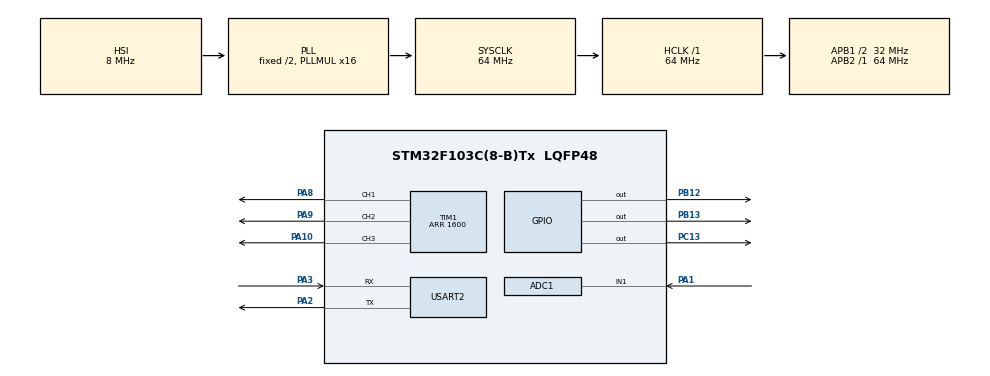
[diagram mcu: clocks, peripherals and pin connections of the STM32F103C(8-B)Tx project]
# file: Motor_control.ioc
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ADC1.Channel-2\#ChannelRegularConversion=ADC_CHANNEL_1
ADC1.ContinuousConvMode=DISABLE
ADC1.NbrOfConversion=1
ADC1.NbrOfConversionFlag=1
ADC1.Rank-2\#ChannelRegularConversion=1
ADC1.SamplingTime-2\#ChannelRegularConversion=ADC_SAMPLETIME_1CYCLE_5
ADC1.master=1
Mcu.Family=STM32F1
Mcu.Name=STM32F103C(8-B)Tx
Mcu.Package=LQFP48
NVIC.PriorityGroup=NVIC_PRIORITYGROUP_4
NVIC.TIM1_UP_IRQn=true\:0\:0\:false\:false\:true\:true\:true
NVIC.TIM2_IRQn=true\:0\:0\:false\:false\:true\:true\:true
PA1.Signal=ADCx_IN1
PA10.Signal=S_TIM1_CH3
PA2.Mode=Asynchronous
PA2.Signal=USART2_TX
PA3.Mode=Asynchronous
PA3.Signal=USART2_RX
PA8.Signal=S_TIM1_CH1
PA9.Signal=S_TIM1_CH2
PB12.Signal=GPIO_Output
PB13.Signal=GPIO_Output
PC13-TAMPER-RTC.Signal=GPIO_Output
ProjectManager.HeapSize=0x200
ProjectManager.StackSize=0x400
ProjectManager.TargetToolchain=STM32CubeIDE
RCC.ADCPresc=RCC_ADCPCLK2_DIV6
RCC.AHBFreq_Value=64000000
RCC.APB1CLKDivider=RCC_HCLK_DIV2
RCC.APB1Freq_Value=32000000
RCC.APB1TimFreq_Value=64000000
RCC.APB2Freq_Value=64000000
RCC.APB2TimFreq_Value=64000000
RCC.HCLKFreq_Value=64000000
RCC.PLLMUL=RCC_PLL_MUL16
RCC.SYSCLKFreq_VALUE=64000000
RCC.SYSCLKSource=RCC_SYSCLKSOURCE_PLLCLK
RCC.USBFreq_Value=64000000
SH.ADCx_IN1.0=ADC1_IN1,IN1
SH.S_TIM1_CH1.0=TIM1_CH1,PWM Generation1 CH1
SH.S_TIM1_CH2.0=TIM1_CH2,PWM Generation2 CH2
SH.S_TIM1_CH3.0=TIM1_CH3,PWM Generation3 CH3
TIM1.AutoReloadPreload=TIM_AUTORELOAD_PRELOAD_ENABLE
TIM1.BreakState=TIM_BREAK_DISABLE
TIM1.Channel-PWM\ Generation1\ CH1=TIM_CHANNEL_1
TIM1.Channel-PWM\ Generation2\ CH2=TIM_CHANNEL_2
TIM1.Channel-PWM\ Generation3\ CH3=TIM_CHANNEL_3
TIM1.CounterMode=TIM_COUNTERMODE_UP
TIM1.OffStateIDLEMode=TIM_OSSI_ENABLE
TIM1.OffStateRunMode=TIM_OSSR_ENABLE
TIM1.Period=1600
TIM1.Pulse-PWM\ Generation2\ CH2=500
TIM1.Pulse-PWM\ Generation3\ CH3=1300
TIM2.Channel-Output\ Compare1\ No\ Output=TIM_CHANNEL_1
TIM2.Period=32
USART2.VirtualMode=VM_ASYNC
VP_SYS_VS_ND.Mode=No_Debug
VP_TIM1_VS_ClockSourceINT.Mode=Internal
VP_TIM2_VS_ClockSourceINT.Mode=Internal
VP_TIM2_VS_no_output1.Mode=Output Compare1 No Output
board=custom

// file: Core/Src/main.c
/* USER CODE BEGIN Header */
/**
  ******************************************************************************
  * @file           : main.c
  * @brief          : Main program body
  ******************************************************************************
  * @attention
  *
  * <h2><center>&copy; Copyright (c) 2020 STMicroelectronics.
  * All rights reserved.</center></h2>
  *
  * This software component is licensed by ST under BSD 3-Clause license,
  * the "License"; You may not use this file except in compliance with the
  * License. You may obtain a copy of the License at:
  *                        opensource.org/licenses/BSD-3-Clause
  *
  ******************************************************************************
  */
/* USER CODE END Header */
#include "main.h"

/* USER CODE BEGIN Includes */
#include "math.h"
/* USER CODE END Includes */

/* USER CODE BEGIN PD */
// utility defines
#define _2_SQRT3 1.15470053838
#define _SQRT3 1.73205080757
#define _1_SQRT3 0.57735026919
#define _SQRT3_2 0.86602540378
#define _SQRT2 1.41421356237
#define _120_D2R 2.09439510239
#define _PI 3.14159265359
#define _PI_2 1.57079632679
#define _PI_3 1.0471975512
#define _2PI 6.28318530718
#define _3PI_2 4.71238898038

// sign function
#define _sign(a) ( ( (a) < 0 )  ?  -1   : ( (a) > 0 ) )
#define _round(x) ((x)>=0?(long)((x)+0.5):(long)((x)-0.5))

/* USER CODE END PD */

ADC_HandleTypeDef hadc1;

TIM_HandleTypeDef htim1;
TIM_HandleTypeDef htim2;

UART_HandleTypeDef huart2;

/* USER CODE BEGIN PV */
int gpio_b12 = 0;
int gpio_b13 = 0;
/* USER CODE END PV */

void SystemClock_Config(void);
static void MX_GPIO_Init(void);
static void MX_TIM1_Init(void);
static void MX_USART2_UART_Init(void);
static void MX_ADC1_Init(void);
static void MX_TIM2_Init(void);

/* USER CODE BEGIN 0 */
//#define SIN_STEPS 1024
#define SIN_STEPS 1024
char buf[200];
uint16_t sin_array[SIN_STEPS];
#define SIN_SCALE 780 //400-700should be fine

uint16_t duty_u=0;
uint16_t duty_v=0;
uint16_t duty_w=0;

/* USER CODE END 0 */

int main(void)
{

  /* MCU Configuration--------------------------------------------------------*/

  /* Reset of all peripherals, Initializes the Flash interface and the Systick. */
  HAL_Init();

  /* Configure the system clock */
  SystemClock_Config();

  /* Initialize all configured peripherals */
  MX_GPIO_Init();
  MX_TIM1_Init();
  MX_USART2_UART_Init();
  MX_ADC1_Init();
  MX_TIM2_Init();
  /* USER CODE BEGIN 2 */
  HAL_TIM_Base_Start_IT(&htim1);
  //HAL_Delay(1);
  //HAL_TIM_Base_Start_IT(&htim2);

  HAL_TIM_PWM_Start_IT(&htim1,TIM_CHANNEL_1);

  HAL_TIM_PWM_Start_IT(&htim1,TIM_CHANNEL_2);

  HAL_TIM_PWM_Start_IT(&htim1,TIM_CHANNEL_3);

  /* Init ADC1 */
  //MX_ADC1_Init();

  for(int i=0;i<SIN_STEPS;i++)
  {
	  float value =  (i*M_TWOPI/SIN_STEPS);
      sin_array[i]= (uint16_t)round((sinf(value)+1)*SIN_SCALE)+5;
//      sprintf(buf,"Sin %d\t\n",sin_array[i]);
//      HAL_UART_Transmit(&huart2,buf,strlen(buf),10);
  }

  // int array instead of float array
  // 2x storage save (int 2Byte float 4 Byte )
  // sin*10000
  int sine_array[200] = {0,79,158,237,316,395,473,552,631,710,789,867,946,1024,1103,1181,1260,1338,1416,1494,1572,1650,1728,1806,1883,1961,2038,2115,2192,2269,2346,2423,2499,2575,2652,2728,2804,2879,2955,3030,3105,3180,3255,3329,3404,3478,3552,3625,3699,3772,3845,3918,3990,4063,4135,4206,4278,4349,4420,4491,4561,4631,4701,4770,4840,4909,4977,5046,5113,5181,5249,5316,5382,5449,5515,5580,5646,5711,5775,5839,5903,5967,6030,6093,6155,6217,6279,6340,6401,6461,6521,6581,6640,6699,6758,6815,6873,6930,6987,7043,7099,7154,7209,7264,7318,7371,7424,7477,7529,7581,7632,7683,7733,7783,7832,7881,7930,7977,8025,8072,8118,8164,8209,8254,8298,8342,8385,8428,8470,8512,8553,8594,8634,8673,8712,8751,8789,8826,8863,8899,8935,8970,9005,9039,9072,9105,9138,9169,9201,9231,9261,9291,9320,9348,9376,9403,9429,9455,9481,9506,9530,9554,9577,9599,9621,9642,9663,9683,9702,9721,9739,9757,9774,9790,9806,9821,9836,9850,9863,9876,9888,9899,9910,9920,9930,9939,9947,9955,9962,9969,9975,9980,9985,9989,9992,9995,9997,9999,10000,10000};

  // function approximating the sine calculation by using fixed size array
  // ~40us (float array)
  // ~50us (int array)
  // precision +-0.005
  // it has to receive an angle in between 0 and 2PI
  float _sin(float a){
    if(a < _PI_2){
      //return sine_array[(int)(199.0*( a / (_PI/2.0)))];
      //return sine_array[(int)(126.6873* a)];           // float array optimized
      return 0.0001*sine_array[_round(126.6873* a)];      // int array optimized
    }else if(a < _PI){
      // return sine_array[(int)(199.0*(1.0 - (a-_PI/2.0) / (_PI/2.0)))];
      //return sine_array[398 - (int)(126.6873*a)];          // float array optimized
      return 0.0001*sine_array[398 - _round(126.6873*a)];     // int array optimized
    }else if(a < _3PI_2){
      // return -sine_array[(int)(199.0*((a - _PI) / (_PI/2.0)))];
      //return -sine_array[-398 + (int)(126.6873*a)];           // float array optimized
      return -0.0001*sine_array[-398 + _round(126.6873*a)];      // int array optimized
    } else {
      // return -sine_array[(int)(199.0*(1.0 - (a - 3*_PI/2) / (_PI/2.0)))];
      //return -sine_array[796 - (int)(126.6873*a)];           // float array optimized
      return -0.0001*sine_array[796 - _round(126.6873*a)];      // int array optimized
    }
  }

  /* USER CODE END 2 */

  /* Infinite loop */
  /* USER CODE BEGIN WHILE */
  int count = 0;
  int angle_el = 0;
  float angle_r= 0;
  int steps = 0;
  int direction = 1;

  while (1)
  {
	     // we have 6 sectors for svpwm

	     angle_r = (((angle_el%SIN_STEPS)*M_TWOPI/SIN_STEPS));
	     int sector = floor(angle_r / _PI_3) + 1;

	     float T1 = _SQRT3*_sin(sector*_PI_3 - angle_r);
	     float T2 = _SQRT3*_sin(angle_r - (sector-1.0)*_PI_3);
	      // two versions possible
	      // centered around voltage_power_supply/2
	     float T0 = 1 - T1 - T2;

	     float duty_u_f,duty_v_f,duty_w_f;

	      switch(sector){
	        case 1:
	          duty_u_f = T1 + T2 + T0/2;
	          duty_v_f = T2 + T0/2;
	          duty_w_f = T0/2;
	          break;
	        case 2:
	          duty_u_f = T1 +  T0/2;
	          duty_v_f = T1 + T2 + T0/2;
	          duty_w_f = T0/2;
	          break;
	        case 3:
	          duty_u_f = T0/2;
	          duty_v_f = T1 + T2 + T0/2;
	          duty_w_f = T2 + T0/2;
	          break;
	        case 4:
	          duty_u_f = T0/2;
	          duty_v_f = T1+ T0/2;
	          duty_w_f = T1 + T2 + T0/2;
	          break;
	        case 5:
	          duty_u_f = T2 + T0/2;
	          duty_v_f = T0/2;
	          duty_w_f = T1 + T2 + T0/2;
	          break;
	        case 6:
	          duty_u_f = T1 + T2 + T0/2;
	          duty_v_f = T0/2;
	          duty_w_f = T1 + T0/2;
	          break;
	        default:
	         // possible error state
	          duty_u_f = 0;
	          duty_v_f = 0;
	          duty_w_f = 0;
	      }
	      duty_u = (duty_u_f+0.4)*900;
	      duty_v = (duty_v_f+0.4)*900;
	      duty_w = (duty_w_f+0.4)*900;

//	     sprintf(buf,"U:%d U:%d U:%d U:%d U:%f\t\n",sector, duty_u,duty_v,duty_w,angle_r);
//	     HAL_UART_Transmit(&huart2,buf,strlen(buf),10);
	   	gpio_b12 = !gpio_b12;
	   	HAL_GPIO_WritePin(GPIOB, GPIO_PIN_12, gpio_b12);

	    angle_el=angle_el+8;

//	     if(angle_el>=1024)
//	     {
//	    	 angle_el=2048;
//	     }

//		 if(steps%2)
//		 {
//			 count=0;
//		 }
//		 else
//		 {
//			 count=500;
//		 }

	    // HAL_Delay(1);

//	     count=count+1;
//
//	     sin(count);
//	     sin(count);
//	     sin(count);
//	     sin(count);
//	     sin(count);

//	     if(count%5==0)
//	     {
//		     HAL_ADC_Start(&hadc1);
//		     HAL_ADC_PollForConversion(&hadc1, HAL_MAX_DELAY);
//
//		     uint32_t raw = HAL_ADC_GetValue(&hadc1);
//
//
//		      sprintf(buf,"ADC %d\t\n",raw);
//		      HAL_UART_Transmit(&huart2,buf,strlen(buf),10);
//	     }
//
//		 if((count%(SIN_STEPS-1))==0)
//		 {
//			 //count=0;
//			 //steps++;
//			 //continue;
//		 }
//
//		 if(count>=(SIN_STEPS-1)*2)
//		 {
//			 //steps = 100;
//			 //direction = !direction;
//			 direction = !direction;
//			 count = ((SIN_STEPS-1)*2-1);
//			 HAL_Delay(200);
//		 }
//		 else
//		 {
//			 if(direction)
//			 {
//				 count = count+1;
//			 }
//			 else
//			 {
//				 count = count-1;
//				 if(count<=0)
//				 {
//					 direction = !direction;
//					 count=0;
//					 HAL_Delay(200);
//				 }
//			 }
//
//		 }
//

//		 if(out>=3000)
//		 {
//			 out=0;
//		 }
//
//		 if(out%2)
//		 {
//			 count = 0;
//		 }
//		 else
//		 {
//			 count = 400;
//		 }
//		 out++;

//		 duty_u=sin_array[(count%SIN_STEPS)];
//		 duty_v=sin_array[(count+SIN_STEPS/3)%SIN_STEPS];
//		 duty_w=sin_array[(count+2*SIN_STEPS/3)%SIN_STEPS];
		 {
//			 if(count%2)
//			 {
//				 TIM1->CCR1=0;
//			 }
//			 else
//			 {
//
//				 TIM1->CCR1=25;
//			 }
//			 TIM1->CCR1=duty_u;
//			 TIM1->CCR2=duty_v;
//			 TIM1->CCR3=duty_w;
//
//			 count=count+8;
			 //HAL_Delay(5);
//			 steps++;
//			 if((steps>=1000)&& (steps<1500))
//			 {
//				 count=count+4;
//				 steps++;
//				 HAL_Delay(3);
//
//			 }
//			 else if((steps>=1500)&&(steps<2600))
//			 {
//				 count=count+4;
//				 steps++;
//				 HAL_Delay(2);
//
//			 }
//			 else if(steps>=2600)
//		     {
//				 count=count+8;
//			     steps=2900;
//				 HAL_Delay(2);
//
//			}
//			 else
//			 {
//				 count=count+4;
//				 HAL_Delay(4);
//			 }

		 }

    /* USER CODE END WHILE */

  }
}

void SystemClock_Config(void)
{
  RCC_OscInitTypeDef RCC_OscInitStruct = {0};
  RCC_ClkInitTypeDef RCC_ClkInitStruct = {0};
  RCC_PeriphCLKInitTypeDef PeriphClkInit = {0};

  /** Initializes the RCC Oscillators according to the specified parameters
  * in the RCC_OscInitTypeDef structure.
  */
  RCC_OscInitStruct.OscillatorType = RCC_OSCILLATORTYPE_HSI;
  RCC_OscInitStruct.HSIState = RCC_HSI_ON;
  RCC_OscInitStruct.HSICalibrationValue = RCC_HSICALIBRATION_DEFAULT;
  RCC_OscInitStruct.PLL.PLLState = RCC_PLL_ON;
  RCC_OscInitStruct.PLL.PLLSource = RCC_PLLSOURCE_HSI_DIV2;
  RCC_OscInitStruct.PLL.PLLMUL = RCC_PLL_MUL16;
  if (HAL_RCC_OscConfig(&RCC_OscInitStruct) != HAL_OK)
  {
    Error_Handler();
  }
  /** Initializes the CPU, AHB and APB buses clocks
  */
  RCC_ClkInitStruct.ClockType = RCC_CLOCKTYPE_HCLK|RCC_CLOCKTYPE_SYSCLK
                              |RCC_CLOCKTYPE_PCLK1|RCC_CLOCKTYPE_PCLK2;
  RCC_ClkInitStruct.SYSCLKSource = RCC_SYSCLKSOURCE_PLLCLK;
  RCC_ClkInitStruct.AHBCLKDivider = RCC_SYSCLK_DIV1;
  RCC_ClkInitStruct.APB1CLKDivider = RCC_HCLK_DIV2;
  RCC_ClkInitStruct.APB2CLKDivider = RCC_HCLK_DIV1;

  if (HAL_RCC_ClockConfig(&RCC_ClkInitStruct, FLASH_LATENCY_2) != HAL_OK)
  {
    Error_Handler();
  }
  PeriphClkInit.PeriphClockSelection = RCC_PERIPHCLK_ADC;
  PeriphClkInit.AdcClockSelection = RCC_ADCPCLK2_DIV6;
  if (HAL_RCCEx_PeriphCLKConfig(&PeriphClkInit) != HAL_OK)
  {
    Error_Handler();
  }
}

static void MX_ADC1_Init(void)
{

  ADC_ChannelConfTypeDef sConfig = {0};

  /** Common config
  */
  hadc1.Instance = ADC1;
  hadc1.Init.ScanConvMode = ADC_SCAN_DISABLE;
  hadc1.Init.ContinuousConvMode = DISABLE;
  hadc1.Init.DiscontinuousConvMode = DISABLE;
  hadc1.Init.ExternalTrigConv = ADC_SOFTWARE_START;
  hadc1.Init.DataAlign = ADC_DATAALIGN_RIGHT;
  hadc1.Init.NbrOfConversion = 1;
  if (HAL_ADC_Init(&hadc1) != HAL_OK)
  {
    Error_Handler();
  }
  /** Configure Regular Channel
  */
  sConfig.Channel = ADC_CHANNEL_1;
  sConfig.Rank = ADC_REGULAR_RANK_1;
  sConfig.SamplingTime = ADC_SAMPLETIME_1CYCLE_5;
  if (HAL_ADC_ConfigChannel(&hadc1, &sConfig) != HAL_OK)
  {
    Error_Handler();
  }

}

static void MX_TIM1_Init(void)
{

  TIM_ClockConfigTypeDef sClockSourceConfig = {0};
  TIM_MasterConfigTypeDef sMasterConfig = {0};
  TIM_OC_InitTypeDef sConfigOC = {0};
  TIM_BreakDeadTimeConfigTypeDef sBreakDeadTimeConfig = {0};

  htim1.Instance = TIM1;
  htim1.Init.Prescaler = 0;
  htim1.Init.CounterMode = TIM_COUNTERMODE_UP;
  htim1.Init.Period = 1600;
  htim1.Init.ClockDivision = TIM_CLOCKDIVISION_DIV1;
  htim1.Init.RepetitionCounter = 0;
  htim1.Init.AutoReloadPreload = TIM_AUTORELOAD_PRELOAD_ENABLE;
  if (HAL_TIM_Base_Init(&htim1) != HAL_OK)
  {
    Error_Handler();
  }
  sClockSourceConfig.ClockSource = TIM_CLOCKSOURCE_INTERNAL;
  if (HAL_TIM_ConfigClockSource(&htim1, &sClockSourceConfig) != HAL_OK)
  {
    Error_Handler();
  }
  if (HAL_TIM_PWM_Init(&htim1) != HAL_OK)
  {
    Error_Handler();
  }
  sMasterConfig.MasterOutputTrigger = TIM_TRGO_RESET;
  sMasterConfig.MasterSlaveMode = TIM_MASTERSLAVEMODE_DISABLE;
  if (HAL_TIMEx_MasterConfigSynchronization(&htim1, &sMasterConfig) != HAL_OK)
  {
    Error_Handler();
  }
  sConfigOC.OCMode = TIM_OCMODE_PWM1;
  sConfigOC.Pulse = 0;
  sConfigOC.OCPolarity = TIM_OCPOLARITY_HIGH;
  sConfigOC.OCNPolarity = TIM_OCNPOLARITY_HIGH;
  sConfigOC.OCFastMode = TIM_OCFAST_DISABLE;
  sConfigOC.OCIdleState = TIM_OCIDLESTATE_RESET;
  sConfigOC.OCNIdleState = TIM_OCNIDLESTATE_RESET;
  if (HAL_TIM_PWM_ConfigChannel(&htim1, &sConfigOC, TIM_CHANNEL_1) != HAL_OK)
  {
    Error_Handler();
  }
  sConfigOC.Pulse = 500;
  if (HAL_TIM_PWM_ConfigChannel(&htim1, &sConfigOC, TIM_CHANNEL_2) != HAL_OK)
  {
    Error_Handler();
  }
  sConfigOC.Pulse = 1300;
  if (HAL_TIM_PWM_ConfigChannel(&htim1, &sConfigOC, TIM_CHANNEL_3) != HAL_OK)
  {
    Error_Handler();
  }
  sBreakDeadTimeConfig.OffStateRunMode = TIM_OSSR_ENABLE;
  sBreakDeadTimeConfig.OffStateIDLEMode = TIM_OSSI_ENABLE;
  sBreakDeadTimeConfig.LockLevel = TIM_LOCKLEVEL_OFF;
  sBreakDeadTimeConfig.DeadTime = 0;
  sBreakDeadTimeConfig.BreakState = TIM_BREAK_DISABLE;
  sBreakDeadTimeConfig.BreakPolarity = TIM_BREAKPOLARITY_HIGH;
  sBreakDeadTimeConfig.AutomaticOutput = TIM_AUTOMATICOUTPUT_DISABLE;
  if (HAL_TIMEx_ConfigBreakDeadTime(&htim1, &sBreakDeadTimeConfig) != HAL_OK)
  {
    Error_Handler();
  }
  HAL_TIM_MspPostInit(&htim1);

}

static void MX_TIM2_Init(void)
{

  TIM_ClockConfigTypeDef sClockSourceConfig = {0};
  TIM_MasterConfigTypeDef sMasterConfig = {0};
  TIM_OC_InitTypeDef sConfigOC = {0};

  htim2.Instance = TIM2;
  htim2.Init.Prescaler = 0;
  htim2.Init.CounterMode = TIM_COUNTERMODE_UP;
  htim2.Init.Period = 32;
  htim2.Init.ClockDivision = TIM_CLOCKDIVISION_DIV1;
  htim2.Init.AutoReloadPreload = TIM_AUTORELOAD_PRELOAD_DISABLE;
  if (HAL_TIM_Base_Init(&htim2) != HAL_OK)
  {
    Error_Handler();
  }
  sClockSourceConfig.ClockSource = TIM_CLOCKSOURCE_INTERNAL;
  if (HAL_TIM_ConfigClockSource(&htim2, &sClockSourceConfig) != HAL_OK)
  {
    Error_Handler();
  }
  if (HAL_TIM_OC_Init(&htim2) != HAL_OK)
  {
    Error_Handler();
  }
  sMasterConfig.MasterOutputTrigger = TIM_TRGO_RESET;
  sMasterConfig.MasterSlaveMode = TIM_MASTERSLAVEMODE_DISABLE;
  if (HAL_TIMEx_MasterConfigSynchronization(&htim2, &sMasterConfig) != HAL_OK)
  {
    Error_Handler();
  }
  sConfigOC.OCMode = TIM_OCMODE_TIMING;
  sConfigOC.Pulse = 0;
  sConfigOC.OCPolarity = TIM_OCPOLARITY_HIGH;
  sConfigOC.OCFastMode = TIM_OCFAST_DISABLE;
  if (HAL_TIM_OC_ConfigChannel(&htim2, &sConfigOC, TIM_CHANNEL_1) != HAL_OK)
  {
    Error_Handler();
  }

}

static void MX_USART2_UART_Init(void)
{

  huart2.Instance = USART2;
  huart2.Init.BaudRate = 115200;
  huart2.Init.WordLength = UART_WORDLENGTH_8B;
  huart2.Init.StopBits = UART_STOPBITS_1;
  huart2.Init.Parity = UART_PARITY_NONE;
  huart2.Init.Mode = UART_MODE_TX_RX;
  huart2.Init.HwFlowCtl = UART_HWCONTROL_NONE;
  huart2.Init.OverSampling = UART_OVERSAMPLING_16;
  if (HAL_UART_Init(&huart2) != HAL_OK)
  {
    Error_Handler();
  }

}

static void MX_GPIO_Init(void)
{
  GPIO_InitTypeDef GPIO_InitStruct = {0};

  /* GPIO Ports Clock Enable */
  __HAL_RCC_GPIOC_CLK_ENABLE();
  __HAL_RCC_GPIOA_CLK_ENABLE();
  __HAL_RCC_GPIOB_CLK_ENABLE();

  /*Configure GPIO pin Output Level */
  HAL_GPIO_WritePin(GPIOC, GPIO_PIN_13, GPIO_PIN_RESET);

  /*Configure GPIO pin Output Level */
  HAL_GPIO_WritePin(GPIOB, GPIO_PIN_12|GPIO_PIN_13, GPIO_PIN_RESET);

  /*Configure GPIO pin : PC13 */
  GPIO_InitStruct.Pin = GPIO_PIN_13;
  GPIO_InitStruct.Mode = GPIO_MODE_OUTPUT_PP;
  GPIO_InitStruct.Pull = GPIO_NOPULL;
  GPIO_InitStruct.Speed = GPIO_SPEED_FREQ_LOW;
  HAL_GPIO_Init(GPIOC, &GPIO_InitStruct);

  /*Configure GPIO pins : PB12 PB13 */
  GPIO_InitStruct.Pin = GPIO_PIN_12|GPIO_PIN_13;
  GPIO_InitStruct.Mode = GPIO_MODE_OUTPUT_PP;
  GPIO_InitStruct.Pull = GPIO_NOPULL;
  GPIO_InitStruct.Speed = GPIO_SPEED_FREQ_LOW;
  HAL_GPIO_Init(GPIOB, &GPIO_InitStruct);

}

/* USER CODE BEGIN 4 */

void HAL_TIM_OC_DelayElapsedCallback(TIM_HandleTypeDef *htim)
{

//	// Only process the time up event for channel 1
//	switch(htim->Channel)
//	{
//	    case HAL_TIM_ACTIVE_CHANNEL_1:
//	    	gpio_b12 = !gpio_b12;
//	    	HAL_GPIO_WritePin(GPIOB, GPIO_PIN_12, gpio_b12);
//	    break;
//	    case HAL_TIM_ACTIVE_CHANNEL_2:
//	    	gpio_b13 = !gpio_b13;
//	    	HAL_GPIO_WritePin(GPIOB, GPIO_PIN_13, gpio_b13);
//
//	    break;
//	    case HAL_TIM_ACTIVE_CHANNEL_3:
//	    break;
//	}
}

/* USER CODE END 4 */

void Error_Handler(void)
{
}

/************************ (C) COPYRIGHT STMicroelectronics *****END OF FILE****/
